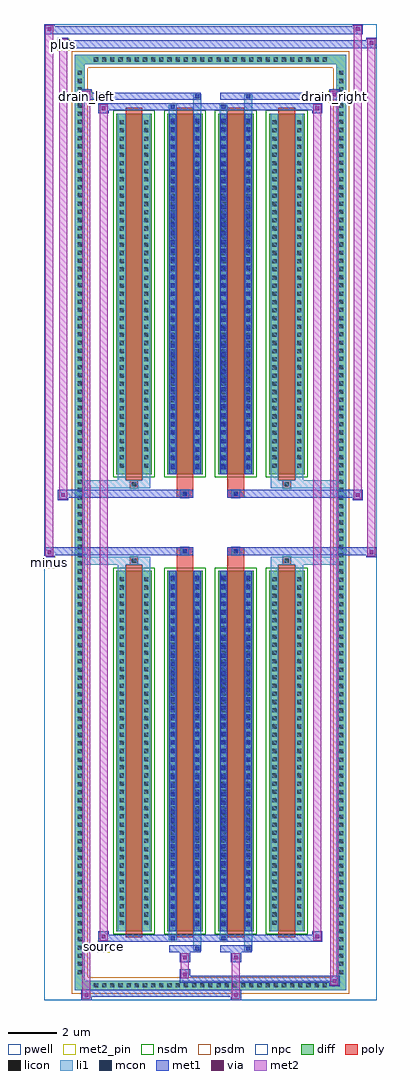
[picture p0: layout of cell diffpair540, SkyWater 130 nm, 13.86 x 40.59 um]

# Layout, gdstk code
import gdstk
lib = gdstk.Library(unit=1e-6, precision=5e-09)
def R(c, l, rs):  # rectangles x0, y0, x1, y1
    for r in rs: c.add(gdstk.rectangle(r[:2], r[2:], *l))
def A(c, l, x, y, w, h, nx, ny, dx, dy):  # array of equal rectangles
    R(c, l, [(x+i*dx, y+j*dy, x+i*dx+w, y+j*dy+h) for i in range(nx) for j in range(ny)])
def P(c, l, *ps):  # polygons
    for p in ps: c.add(gdstk.Polygon(p, *l))
pwell = (64, 44)
diff = (65, 20)
poly = (66, 20)
licon = (66, 44)
li1 = (67, 20)
mcon = (67, 44)
met1 = (68, 20)
via = (68, 44)
met2_pin = (69, 16)
met2 = (69, 20)
nsdm = (93, 44)
psdm = (94, 20)
npc = (95, 20)

diffpair540 = lib.new_cell('diffpair540')
R(diffpair540, pwell, [(-6.91,-19.86,6.91,20.73), (-4.23,-18.05,-0.01,-0.825), (0.01,-18.05,4.23,-0.825), (-4.23,0.825,-0.01,18.05), (0.01,0.825,4.23,18.05)])
A(diffpair540, diff, -4.965, -19.46, 0.41, 0.41, 29, 2, 0.34, 38.51)
A(diffpair540, diff, -5.64, -18.905, 0.41, 0.41, 1, 111, 0, 0.34)
A(diffpair540, diff, 5.23, -18.905, 0.41, 0.41, 1, 111, 0, 0.34)
A(diffpair540, diff, -3.92, -17.005, 1.48, 15, 4, 2, 2.12, 19.01)
R(diffpair540, diff, [(-4.965,-19.46,4.965,-19.05), (-5.64,-18.905,-5.23,18.905), (5.23,-18.905,5.64,18.905), (-4.965,19.05,4.965,19.46)])
P(diffpair540, diff, [(5.64,19.46),(-5.64,19.46),(-5.64,-19.05),(-5.23,-19.05),(-5.23,19.05),(5.23,19.05),(5.23,-19.05),(-5.23,-19.05),(-5.64,-19.05),(-5.64,-19.46),(5.64,-19.46)])
A(diffpair540, poly, -3.53, -17.255, 0.7, 15.5, 4, 2, 2.12, 19.01)
R(diffpair540, poly, [(-3.345,-1.755,-3.015,-1.425), (-3.345,-1.755,-3.015,-1.425), (-1.41,-1.755,-0.71,-1.355), (0.71,-1.755,1.41,-1.355), (3.015,-1.755,3.345,-1.425), (3.015,-1.755,3.345,-1.425), (-1.41,-1.355,-0.71,-1.025), (-1.225,-1.355,-0.895,-1.025), (0.71,-1.355,1.41,-1.025), (0.895,-1.355,1.225,-1.025), (-1.41,1.025,-0.71,1.355), (-1.225,1.025,-0.895,1.355), (0.71,1.025,1.41,1.355), (0.895,1.025,1.225,1.355), (-1.41,1.355,-0.71,1.755), (0.71,1.355,1.41,1.755), (-3.345,1.425,-3.015,1.755), (-3.345,1.425,-3.015,1.755), (3.015,1.425,3.345,1.755), (3.015,1.425,3.345,1.755)])
A(diffpair540, licon, -4.845, -19.34, 0.17, 0.17, 29, 2, 0.34, 38.51)
A(diffpair540, licon, -5.52, -18.785, 0.17, 0.17, 1, 111, 0, 0.34)
A(diffpair540, licon, 5.35, -18.785, 0.17, 0.17, 1, 111, 0, 0.34)
A(diffpair540, licon, -3.78, -16.73, 0.17, 0.17, 1, 43, 0, 0.34)
A(diffpair540, licon, -2.75, -16.73, 0.17, 0.17, 1, 43, 0, 0.34)
A(diffpair540, licon, -1.66, -16.73, 0.17, 0.17, 1, 43, 0, 0.34)
A(diffpair540, licon, -0.63, -16.73, 0.17, 0.17, 1, 43, 0, 0.34)
A(diffpair540, licon, 0.46, -16.73, 0.17, 0.17, 1, 43, 0, 0.34)
A(diffpair540, licon, 1.49, -16.73, 0.17, 0.17, 1, 43, 0, 0.34)
A(diffpair540, licon, 2.58, -16.73, 0.17, 0.17, 1, 43, 0, 0.34)
A(diffpair540, licon, 3.61, -16.73, 0.17, 0.17, 1, 43, 0, 0.34)
A(diffpair540, licon, -3.78, 2.28, 0.17, 0.17, 1, 43, 0, 0.34)
A(diffpair540, licon, -2.75, 2.28, 0.17, 0.17, 1, 43, 0, 0.34)
A(diffpair540, licon, -1.66, 2.28, 0.17, 0.17, 1, 43, 0, 0.34)
A(diffpair540, licon, -0.63, 2.28, 0.17, 0.17, 1, 43, 0, 0.34)
A(diffpair540, licon, 0.46, 2.28, 0.17, 0.17, 1, 43, 0, 0.34)
A(diffpair540, licon, 1.49, 2.28, 0.17, 0.17, 1, 43, 0, 0.34)
A(diffpair540, licon, 2.58, 2.28, 0.17, 0.17, 1, 43, 0, 0.34)
A(diffpair540, licon, 3.61, 2.28, 0.17, 0.17, 1, 43, 0, 0.34)
R(diffpair540, licon, [(-3.265,-1.675,-3.095,-1.505), (3.095,-1.675,3.265,-1.505), (-1.145,-1.275,-0.975,-1.105), (0.975,-1.275,1.145,-1.105), (-1.145,1.105,-0.975,1.275), (0.975,1.105,1.145,1.275), (-3.265,1.505,-3.095,1.675), (3.095,1.505,3.265,1.675)])
A(diffpair540, li1, -4.925, -19.42, 0.33, 0.33, 29, 2, 0.34, 38.51)
A(diffpair540, li1, -5.6, -18.865, 0.33, 0.33, 1, 111, 0, 0.34)
A(diffpair540, li1, 5.27, -18.865, 0.33, 0.33, 1, 111, 0, 0.34)
A(diffpair540, li1, -3.86, -16.81, 0.33, 0.33, 1, 43, 0, 0.34)
A(diffpair540, li1, -2.83, -16.81, 0.33, 0.33, 1, 43, 0, 0.34)
A(diffpair540, li1, -1.74, -16.81, 0.33, 0.33, 1, 43, 0, 0.34)
A(diffpair540, li1, -0.71, -16.81, 0.33, 0.33, 1, 43, 0, 0.34)
A(diffpair540, li1, 0.38, -16.81, 0.33, 0.33, 1, 43, 0, 0.34)
A(diffpair540, li1, 1.41, -16.81, 0.33, 0.33, 1, 43, 0, 0.34)
A(diffpair540, li1, 2.5, -16.81, 0.33, 0.33, 1, 43, 0, 0.34)
A(diffpair540, li1, 3.53, -16.81, 0.33, 0.33, 1, 43, 0, 0.34)
A(diffpair540, li1, -1.66, -16.79, 0.17, 0.17, 1, 41, 0, 0.36)
A(diffpair540, li1, -0.63, -16.79, 0.17, 0.17, 1, 41, 0, 0.36)
A(diffpair540, li1, 0.46, -16.79, 0.17, 0.17, 1, 41, 0, 0.36)
A(diffpair540, li1, 1.49, -16.79, 0.17, 0.17, 1, 41, 0, 0.36)
A(diffpair540, li1, -3.86, 2.2, 0.33, 0.33, 1, 43, 0, 0.34)
A(diffpair540, li1, -2.83, 2.2, 0.33, 0.33, 1, 43, 0, 0.34)
A(diffpair540, li1, -1.74, 2.2, 0.33, 0.33, 1, 43, 0, 0.34)
A(diffpair540, li1, -0.71, 2.2, 0.33, 0.33, 1, 43, 0, 0.34)
A(diffpair540, li1, 0.38, 2.2, 0.33, 0.33, 1, 43, 0, 0.34)
A(diffpair540, li1, 1.41, 2.2, 0.33, 0.33, 1, 43, 0, 0.34)
A(diffpair540, li1, 2.5, 2.2, 0.33, 0.33, 1, 43, 0, 0.34)
A(diffpair540, li1, 3.53, 2.2, 0.33, 0.33, 1, 43, 0, 0.34)
A(diffpair540, li1, -1.66, 2.22, 0.17, 0.17, 1, 41, 0, 0.36)
A(diffpair540, li1, -0.63, 2.22, 0.17, 0.17, 1, 41, 0, 0.36)
A(diffpair540, li1, 0.46, 2.22, 0.17, 0.17, 1, 41, 0, 0.36)
A(diffpair540, li1, 1.49, 2.22, 0.17, 0.17, 1, 41, 0, 0.36)
R(diffpair540, li1, [(-5.64,-19.46,-5.23,-19.05), (-5.64,-19.46,-5.23,-19.05), (-5.23,-19.46,5.23,-19.05), (5.23,-19.46,5.64,-19.05), (5.23,-19.46,5.64,-19.05), (-5.64,-19.05,-5.23,19.05), (5.23,-19.05,5.64,19.05), (-0.71,-17.81,-0.38,-17.005), (-0.63,-17.81,-0.46,-17.64), (1.41,-17.81,1.74,-17.005), (1.49,-17.81,1.66,-17.64), (-1.74,-17.38,-1.41,-17.005), (-1.66,-17.38,-1.49,-17.21), (0.38,-17.38,0.71,-17.005), (0.46,-17.38,0.63,-17.21), (-3.86,-17.005,-3.53,-2.005), (-2.83,-17.005,-2.5,-2.005), (-1.74,-17.005,-1.41,-2.005), (-0.71,-17.005,-0.38,-2.005), (0.38,-17.005,0.71,-2.005), (1.41,-17.005,1.74,-2.005), (2.5,-17.005,2.83,-2.005), (3.53,-17.005,3.86,-2.005), (-1.66,-16.79,-1.49,-2.22), (-0.63,-16.79,-0.46,-2.22), (0.46,-16.79,0.63,-2.22), (1.49,-16.79,1.66,-2.22), (-3.86,-2.005,-3.53,-1.425), (-2.83,-2.005,-2.5,-1.425), (2.5,-2.005,2.83,-1.425), (3.53,-2.005,3.86,-1.425), (-5.64,-1.755,-3.345,-1.425), (-3.86,-1.755,-3.345,-1.425), (-3.345,-1.755,-3.015,-1.425), (-3.015,-1.755,-2.5,-1.425), (2.5,-1.755,3.015,-1.425), (3.015,-1.755,3.345,-1.425), (3.015,-1.755,5.64,-1.425), (3.345,-1.755,3.86,-1.425), (-1.225,-1.355,-0.895,-1.025), (0.895,-1.355,1.225,-1.025), (-1.225,1.025,-0.895,1.355), (0.895,1.025,1.225,1.355), (-5.64,1.425,-3.345,1.755), (-3.86,1.425,-3.345,1.755), (-3.86,1.425,-3.53,2.005), (-3.345,1.425,-3.015,1.755), (-3.015,1.425,-2.5,1.755), (-2.83,1.425,-2.5,2.005), (2.5,1.425,3.015,1.755), (2.5,1.425,2.83,2.005), (3.015,1.425,3.345,1.755), (3.015,1.425,5.64,1.755), (3.345,1.425,3.86,1.755), (3.53,1.425,3.86,2.005), (-3.86,2.005,-3.53,17.005), (-2.83,2.005,-2.5,17.005), (-1.74,2.005,-1.41,17.005), (-0.71,2.005,-0.38,17.005), (0.38,2.005,0.71,17.005), (1.41,2.005,1.74,17.005), (2.5,2.005,2.83,17.005), (3.53,2.005,3.86,17.005), (-1.66,2.22,-1.49,16.79), (-0.63,2.22,-0.46,16.79), (0.46,2.22,0.63,16.79), (1.49,2.22,1.66,16.79), (-1.74,17.005,-1.41,17.38), (-0.71,17.005,-0.38,17.81), (0.38,17.005,0.71,17.38), (1.41,17.005,1.74,17.81), (-1.66,17.21,-1.49,17.38), (0.46,17.21,0.63,17.38), (-0.63,17.64,-0.46,17.81), (1.49,17.64,1.66,17.81), (-5.64,19.05,-5.23,19.46), (-5.64,19.05,-5.23,19.46), (-5.23,19.05,5.23,19.46), (5.23,19.05,5.64,19.46), (5.23,19.05,5.64,19.46)])
A(diffpair540, mcon, -1.66, -16.79, 0.17, 0.17, 1, 41, 0, 0.36)
A(diffpair540, mcon, -0.63, -16.79, 0.17, 0.17, 1, 41, 0, 0.36)
A(diffpair540, mcon, 0.46, -16.79, 0.17, 0.17, 1, 41, 0, 0.36)
A(diffpair540, mcon, 1.49, -16.79, 0.17, 0.17, 1, 41, 0, 0.36)
A(diffpair540, mcon, -1.66, 2.22, 0.17, 0.17, 1, 41, 0, 0.36)
A(diffpair540, mcon, -0.63, 2.22, 0.17, 0.17, 1, 41, 0, 0.36)
A(diffpair540, mcon, 0.46, 2.22, 0.17, 0.17, 1, 41, 0, 0.36)
A(diffpair540, mcon, 1.49, 2.22, 0.17, 0.17, 1, 41, 0, 0.36)
R(diffpair540, mcon, [(-0.63,-17.81,-0.46,-17.64), (1.49,-17.81,1.66,-17.64), (-1.66,-17.38,-1.49,-17.21), (0.46,-17.38,0.63,-17.21), (-1.145,-1.275,-0.975,-1.105), (0.975,-1.275,1.145,-1.105), (-1.145,1.105,-0.975,1.275), (0.975,1.105,1.145,1.275), (-1.66,17.21,-1.49,17.38), (0.46,17.21,0.63,17.38), (-0.63,17.64,-0.46,17.81), (1.49,17.64,1.66,17.81)])
A(diffpair540, met1, -1.72, -16.85, 0.29, 0.29, 1, 41, 0, 0.36)
A(diffpair540, met1, -0.69, -16.85, 0.29, 0.29, 1, 41, 0, 0.36)
A(diffpair540, met1, 0.4, -16.85, 0.29, 0.29, 1, 41, 0, 0.36)
A(diffpair540, met1, 1.43, -16.85, 0.29, 0.29, 1, 41, 0, 0.36)
A(diffpair540, met1, -1.72, 2.16, 0.29, 0.29, 1, 41, 0, 0.36)
A(diffpair540, met1, -0.69, 2.16, 0.29, 0.29, 1, 41, 0, 0.36)
A(diffpair540, met1, 0.4, 2.16, 0.29, 0.29, 1, 41, 0, 0.36)
A(diffpair540, met1, 1.43, 2.16, 0.29, 0.29, 1, 41, 0, 0.36)
R(diffpair540, met1, [(-5.37,-19.86,-4.94,-19.43), (0.845,-19.86,1.275,-19.43), (-5.37,-19.72,1.275,-19.43), (4.94,-19.29,5.37,-18.86), (-1.275,-19.15,5.37,-18.86), (-1.275,-19.01,-0.845,-18.58), (-1.275,-18.3,-0.845,-17.87), (0.845,-18.3,1.275,-17.87), (-1.72,-17.87,-0.4,-17.58), (-0.69,-17.87,-0.4,-17.58), (0.4,-17.87,1.72,-17.58), (1.43,-17.87,1.72,-17.58), (-4.66,-17.44,-4.23,-17.01), (-4.66,-17.44,-1.72,-17.15), (-1.72,-17.44,-1.43,-17.15), (-1.72,-17.44,-0.4,-17.15), (-0.4,-17.44,0.4,-17.15), (0.4,-17.44,0.69,-17.15), (0.4,-17.44,1.72,-17.15), (1.72,-17.44,4.66,-17.15), (4.23,-17.44,4.66,-17.01), (-1.72,-17.005,-1.43,-2.005), (-0.69,-17.005,-0.4,-2.005), (0.4,-17.005,0.69,-2.005), (1.43,-17.005,1.72,-2.005), (-6.91,-1.455,-6.48,-1.025), (6.48,-1.455,6.91,-1.025), (-6.91,-1.355,-0.71,-1.025), (-1.41,-1.355,-0.71,-1.025), (0.71,-1.355,1.41,-1.025), (0.71,-1.355,6.91,-1.025), (-1.205,-1.335,-0.915,-1.045), (0.915,-1.335,1.205,-1.045), (-6.34,0.925,-5.91,1.355), (5.91,0.925,6.34,1.355), (-6.34,1.025,-1.41,1.355), (-1.41,1.025,-0.71,1.355), (0.71,1.025,1.41,1.355), (1.41,1.025,6.34,1.355), (-1.205,1.045,-0.915,1.335), (0.915,1.045,1.205,1.335), (-1.72,2.005,-1.43,17.005), (-0.69,2.005,-0.4,17.005), (0.4,2.005,0.69,17.005), (1.43,2.005,1.72,17.005), (-4.66,17.01,-4.23,17.44), (4.23,17.01,4.66,17.44), (-4.66,17.15,-1.72,17.44), (-1.72,17.15,-1.43,17.44), (-1.72,17.15,-0.4,17.44), (-0.4,17.15,0.4,17.44), (0.4,17.15,0.69,17.44), (0.4,17.15,1.72,17.44), (1.72,17.15,4.66,17.44), (-5.37,17.58,-4.94,18.01), (-5.37,17.58,-1.72,17.87), (-1.72,17.58,-0.4,17.87), (-0.69,17.58,-0.4,17.87), (0.4,17.58,1.72,17.87), (1.43,17.58,1.72,17.87), (1.72,17.58,5.37,17.87), (4.94,17.58,5.37,18.01), (-6.34,19.73,-5.91,20.16), (-6.34,19.73,-4.23,20.06), (-4.23,19.73,4.23,20.06), (4.23,19.73,6.91,20.06), (6.48,19.73,6.91,20.16), (-6.91,20.3,-6.48,20.73), (-6.91,20.3,-4.23,20.63), (-4.23,20.3,4.23,20.63), (4.23,20.3,6.34,20.63), (5.91,20.3,6.34,20.73)])
R(diffpair540, via, [(-5.23,-19.72,-5.08,-19.57), (0.985,-19.72,1.135,-19.57), (5.08,-19.15,5.23,-19), (-1.135,-18.87,-0.985,-18.72), (-1.135,-18.16,-0.985,-18.01), (0.985,-18.16,1.135,-18.01), (-4.52,-17.3,-4.37,-17.15), (4.37,-17.3,4.52,-17.15), (-6.77,-1.315,-6.62,-1.165), (6.62,-1.315,6.77,-1.165), (-6.2,1.065,-6.05,1.215), (6.05,1.065,6.2,1.215), (-4.52,17.15,-4.37,17.3), (4.37,17.15,4.52,17.3), (-5.23,17.72,-5.08,17.87), (5.08,17.72,5.23,17.87), (-6.2,19.87,-6.05,20.02), (6.62,19.87,6.77,20.02), (-6.77,20.44,-6.62,20.59), (6.05,20.44,6.2,20.59)])
R(diffpair540, met2_pin, [(-4.695,-17.89,-4.195,-17.39), (-6.945,-1.905,-6.445,-1.405), (-5.405,17.46,-4.905,17.96), (4.905,17.46,5.405,17.96), (-6.375,19.61,-5.875,20.11)])
R(diffpair540, met2, [(-5.32,-19.81,-4.99,-19.48), (-5.32,-19.81,-4.99,17.96), (0.895,-19.81,1.225,-19.48), (0.895,-19.48,1.225,-18.25), (4.99,-19.24,5.32,-18.91), (4.99,-19.24,5.32,17.96), (-1.225,-18.96,-0.895,-18.63), (-1.225,-18.63,-0.895,-18.25), (-1.225,-18.25,-0.895,-17.92), (0.895,-18.25,1.225,-17.92), (-4.61,-17.39,-4.28,-17.06), (-4.61,-17.39,-4.28,17.39), (4.28,-17.39,4.61,-17.06), (4.28,-17.39,4.61,17.39), (-6.86,-1.405,-6.53,-1.075), (-6.86,-1.405,-6.53,20.68), (6.53,-1.405,6.86,-1.075), (6.53,-1.405,6.86,20.11), (-6.29,0.975,-5.96,1.305), (-6.29,0.975,-5.96,20.11), (5.96,0.975,6.29,1.305), (5.96,0.975,6.29,20.68), (-4.61,17.06,-4.28,17.39), (4.28,17.06,4.61,17.39), (-5.32,17.63,-4.99,17.96), (4.99,17.63,5.32,17.96), (-6.29,19.78,-5.96,20.11), (6.53,19.78,6.86,20.11), (-6.86,20.35,-6.53,20.68), (5.96,20.35,6.29,20.68)])
P(diffpair540, met2, [(6.86,-1.405),(6.86,-1.405),(6.86,-1.075),(6.86,-1.075)],
  [(6.86,19.78),(6.86,19.78),(6.86,20.11),(6.86,20.11)],
  [(-6.53,-1.405),(-6.53,-1.405),(-6.53,-1.075),(-6.53,-1.075)],
  [(-6.53,20.35),(-6.53,20.35),(-6.53,20.68),(-6.53,20.68)],
  [(6.29,0.975),(6.29,0.975),(6.29,1.305),(6.29,1.305)],
  [(6.29,20.35),(6.29,20.35),(6.29,20.68),(6.29,20.68)],
  [(-5.96,0.975),(-5.96,0.975),(-5.96,1.305),(-5.96,1.305)],
  [(-5.96,19.78),(-5.96,19.78),(-5.96,20.11),(-5.96,20.11)],
  [(-4.99,-19.81),(-4.99,-19.81),(-4.99,-19.48),(-4.99,-19.48)],
  [(-4.99,17.63),(-4.99,17.63),(-4.99,17.96),(-4.99,17.96)],
  [(5.32,-19.24),(5.32,-19.24),(5.32,-18.91),(5.32,-18.91)],
  [(5.32,17.63),(5.32,17.63),(5.32,17.96),(5.32,17.96)],
  [(-4.28,-17.39),(-4.28,-17.39),(-4.28,-17.06),(-4.28,-17.06)],
  [(-4.28,17.06),(-4.28,17.06),(-4.28,17.39),(-4.28,17.39)],
  [(4.61,-17.39),(4.61,-17.39),(4.61,-17.06),(4.61,-17.06)],
  [(4.61,17.06),(4.61,17.06),(4.61,17.39),(4.61,17.39)])
A(diffpair540, nsdm, -4.05, -17.135, 1.74, 15.26, 4, 2, 2.12, 19.01)
P(diffpair540, psdm, [(5.77,19.59),(-5.77,19.59),(-5.77,-18.92),(-5.1,-18.92),(-5.1,18.92),(5.1,18.92),(5.1,-18.92),(-5.1,-18.92),(-5.77,-18.92),(-5.77,-19.59),(5.77,-19.59)])
R(diffpair540, npc, [(-3.365,-1.775,-2.995,-1.405), (2.995,-1.775,3.365,-1.405), (-1.245,-1.375,-0.875,-1.005), (0.875,-1.375,1.245,-1.005), (-1.245,1.005,-0.875,1.375), (0.875,1.005,1.245,1.375), (-3.365,1.405,-2.995,1.775), (2.995,1.405,3.365,1.775)])
diffpair540.add(gdstk.Label('minus', (-6.695,-1.655), layer=69, texttype=5))
diffpair540.add(gdstk.Label('drain_right', (5.155,17.71), layer=69, texttype=5))
diffpair540.add(gdstk.Label('drain_left', (-5.155,17.71), layer=69, texttype=5))
diffpair540.add(gdstk.Label('source', (-4.445,-17.64), layer=69, texttype=5))
diffpair540.add(gdstk.Label('plus', (-6.125,19.86), layer=69, texttype=5))

lib.write_gds('diffpair540.gds')
